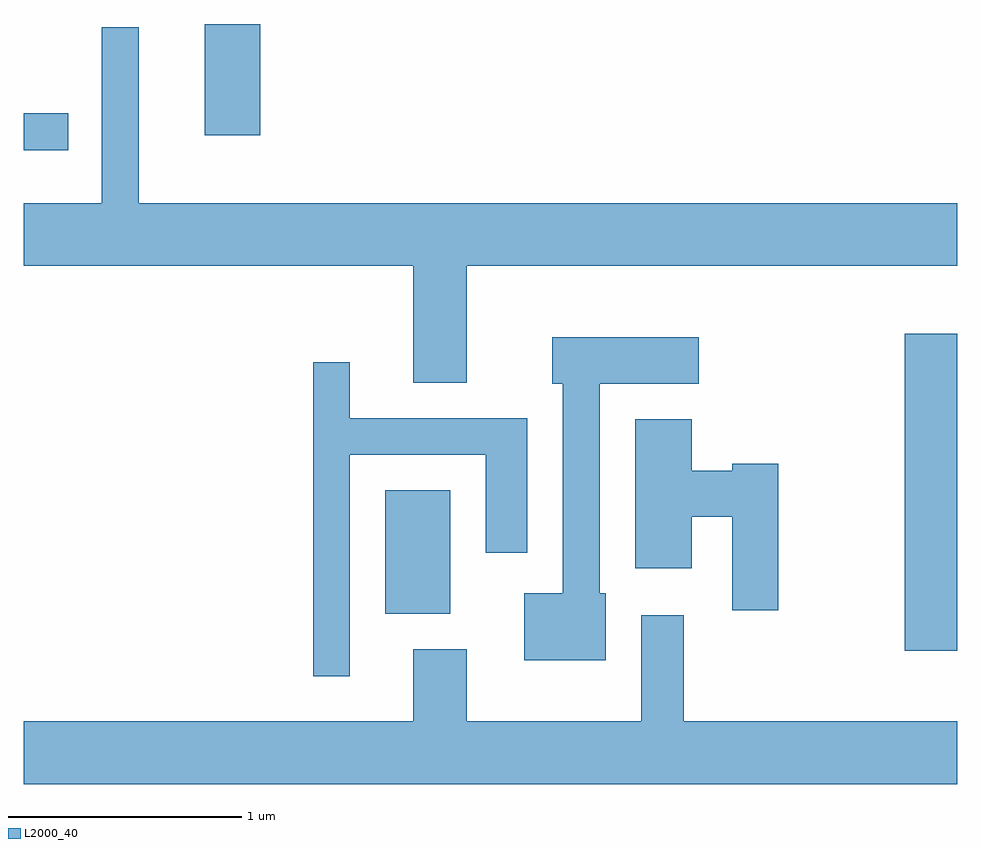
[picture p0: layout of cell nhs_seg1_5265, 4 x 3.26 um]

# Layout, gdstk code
import gdstk
lib = gdstk.Library(unit=1e-6, precision=1e-09)
def R(c, l, rs):  # rectangles x0, y0, x1, y1
    for r in rs: c.add(gdstk.rectangle(r[:2], r[2:], *l))
def P(c, l, *ps):  # polygons
    for p in ps: c.add(gdstk.Polygon(p, *l))
L2000_40 = (2000, 40)

nhs_seg1_5265 = lib.new_cell('nhs_seg1_5265')
R(nhs_seg1_5265, L2000_40, [(347.386,909.026,347.611,910.384), (345.161,909.186,345.439,909.714), (343.611,911.171,343.803,911.329), (344.386,911.236,344.624,911.712)])
P(nhs_seg1_5265, L2000_40, [(345.509,910.676),(347.611,910.676),(347.611,910.944),(344.104,910.944),(344.104,911.698),(343.946,911.698),(343.946,910.944),(343.611,910.944),(343.611,910.676),(345.281,910.676),(345.281,910.176),(345.509,910.176)],
  [(346.104,909.274),(346.079,909.274),(346.079,910.171),(346.504,910.171),(346.504,910.369),(345.876,910.369),(345.876,910.171),(345.921,910.171),(345.921,909.274),(345.756,909.274),(345.756,908.986),(346.104,908.986)],
  [(345.009,909.866),(345.591,909.866),(345.591,909.446),(345.769,909.446),(345.769,910.024),(345.009,910.024),(345.009,910.263),(344.851,910.263),(344.851,908.918),(345.009,908.918)],
  [(346.844,909.829),(346.646,909.829),(346.646,909.799),(346.474,909.799),(346.474,910.019),(346.231,910.019),(346.231,909.381),(346.474,909.381),(346.474,909.601),(346.646,909.601),(346.646,909.201),(346.844,909.201)],
  [(347.611,908.724),(346.439,908.724),(346.439,909.179),(346.256,909.179),(346.256,908.724),(345.509,908.724),(345.509,909.034),(345.281,909.034),(345.281,908.724),(343.611,908.724),(343.611,908.456),(347.611,908.456)])

lib.write_gds('nhs_seg1_5265.gds')
